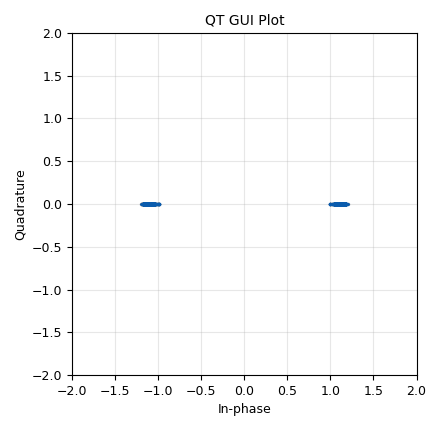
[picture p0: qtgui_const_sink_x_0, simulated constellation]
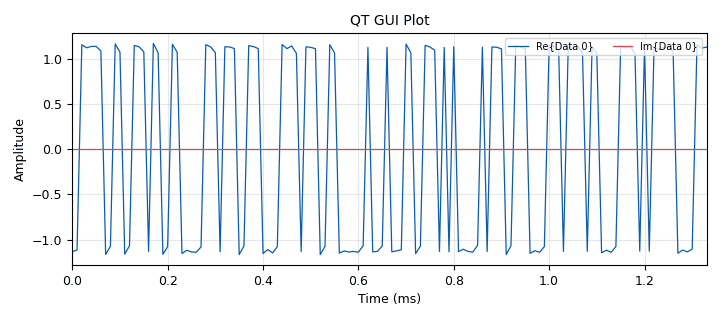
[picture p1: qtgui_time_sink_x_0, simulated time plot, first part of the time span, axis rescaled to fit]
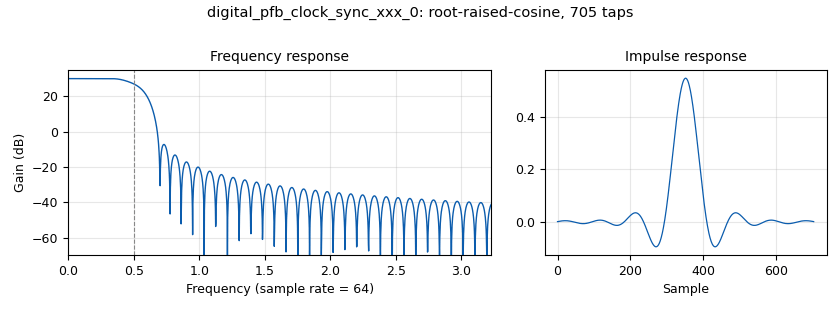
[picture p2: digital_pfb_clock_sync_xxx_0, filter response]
<?xml version='1.0' encoding='utf-8'?>
<flow_graph>
<block>
<key>options</key>
<param><key>id</key><value>top_block</value></param>
<param><key>generate_options</key><value>qt_gui</value></param>
<param><key>category</key><value>Custom</value></param>
</block>
<block>
<key>variable</key>
<param><key>id</key><value>timing_max_dev</value></param>
<param><key>value</key><value>1.5</value></param>
</block>
<block>
<key>variable</key>
<param><key>id</key><value>fll_ntaps</value></param>
<param><key>value</key><value>55</value></param>
</block>
<block>
<key>variable</key>
<param><key>id</key><value>ntaps</value></param>
<param><key>value</key><value>11 * int(samples_per_symbol*nfilts)</value></param>
</block>
<block>
<key>variable</key>
<param><key>id</key><value>nfilts</value></param>
<param><key>value</key><value>32</value></param>
</block>
<block>
<key>variable</key>
<param><key>id</key><value>timing_bw</value></param>
<param><key>value</key><value>0.0628</value></param>
</block>
<block>
<key>variable</key>
<param><key>id</key><value>freq_bw</value></param>
<param><key>value</key><value>0.0628</value></param>
</block>
<block>
<key>variable</key>
<param><key>id</key><value>excess_bw</value></param>
<param><key>value</key><value>0.35</value></param>
</block>
<block>
<key>variable</key>
<param><key>id</key><value>samples_per_symbol</value></param>
<param><key>value</key><value>2</value></param>
</block>
<block>
<key>variable</key>
<param><key>id</key><value>num_samples</value></param>
<param><key>value</key><value>1000</value></param>
</block>
<block>
<key>variable</key>
<param><key>id</key><value>samp_rate</value></param>
<param><key>value</key><value>100000</value></param>
</block>
<block>
<key>qtgui_const_sink_x</key>
<param><key>id</key><value>qtgui_const_sink_x_0</value></param>
<param><key>type</key><value>complex</value></param>
<param><key>name</key><value>QT GUI Plot</value></param>
<param><key>size</key><value>1024</value></param>
</block>
<block>
<key>digital_fll_band_edge_cc</key>
<param><key>id</key><value>digital_fll_band_edge_cc_0</value></param>
<param><key>type</key><value>cc</value></param>
<param><key>samps_per_sym</key><value>samples_per_symbol</value></param>
<param><key>rolloff</key><value>excess_bw</value></param>
<param><key>filter_size</key><value>55</value></param>
<param><key>w</key><value>freq_bw</value></param>
</block>
<block>
<key>analog_random_source_x</key>
<param><key>id</key><value>analog_random_source_x_0</value></param>
<param><key>type</key><value>byte</value></param>
<param><key>min</key><value>32</value></param>
<param><key>max</key><value>127</value></param>
<param><key>num_samps</key><value>num_samples</value></param>
<param><key>repeat</key><value>True</value></param>
</block>
<block>
<key>analog_agc2_xx</key>
<param><key>id</key><value>analog_agc2_xx_0</value></param>
<param><key>type</key><value>complex</value></param>
<param><key>attack_rate</key><value>0.6e-1</value></param>
<param><key>decay_rate</key><value>1e-3</value></param>
<param><key>reference</key><value>1.0</value></param>
<param><key>gain</key><value>1.0</value></param>
<param><key>max_gain</key><value>65536</value></param>
</block>
<block>
<key>blocks_throttle</key>
<param><key>id</key><value>blocks_throttle_0</value></param>
<param><key>type</key><value>byte</value></param>
<param><key>samples_per_second</key><value>samp_rate</value></param>
</block>
<block>
<key>digital_psk_mod</key>
<param><key>id</key><value>digital_psk_mod_0</value></param>
<param><key>constellation_points</key><value>2</value></param>
<param><key>mod_code</key><value>"none"</value></param>
<param><key>differential</key><value>False</value></param>
<param><key>samples_per_symbol</key><value>2</value></param>
<param><key>excess_bw</key><value>0.35</value></param>
</block>
<block>
<key>digital_pfb_clock_sync_xxx</key>
<param><key>id</key><value>digital_pfb_clock_sync_xxx_0</value></param>
<param><key>type</key><value>ccf</value></param>
<param><key>sps</key><value>samples_per_symbol</value></param>
<param><key>loop_bw</key><value>timing_bw</value></param>
<param><key>taps</key><value>firdes.root_raised_cosine(nfilts,nfilts*samples_per_symbol,1.0,excess_bw,ntaps)</value></param>
<param><key>filter_size</key><value>nfilts</value></param>
<param><key>init_phase</key><value>nfilts//2</value></param>
<param><key>max_dev</key><value>timing_max_dev</value></param>
<param><key>osps</key><value>1</value></param>
</block>
<block>
<key>qtgui_time_sink_x</key>
<param><key>id</key><value>qtgui_time_sink_x_0</value></param>
<param><key>type</key><value>complex</value></param>
<param><key>name</key><value>QT GUI Plot</value></param>
<param><key>size</key><value>1024</value></param>
<param><key>srate</key><value>samp_rate</value></param>
</block>
<connection><source_block_id>digital_pfb_clock_sync_xxx_0</source_block_id><sink_block_id>qtgui_const_sink_x_0</sink_block_id><source_key>0</source_key><sink_key>0</sink_key></connection>
<connection><source_block_id>digital_fll_band_edge_cc_0</source_block_id><sink_block_id>digital_pfb_clock_sync_xxx_0</sink_block_id><source_key>0</source_key><sink_key>0</sink_key></connection>
<connection><source_block_id>digital_psk_mod_0</source_block_id><sink_block_id>analog_agc2_xx_0</sink_block_id><source_key>0</source_key><sink_key>0</sink_key></connection>
<connection><source_block_id>analog_agc2_xx_0</source_block_id><sink_block_id>digital_fll_band_edge_cc_0</sink_block_id><source_key>0</source_key><sink_key>0</sink_key></connection>
<connection><source_block_id>blocks_throttle_0</source_block_id><sink_block_id>digital_psk_mod_0</sink_block_id><source_key>0</source_key><sink_key>0</sink_key></connection>
<connection><source_block_id>analog_random_source_x_0</source_block_id><sink_block_id>blocks_throttle_0</sink_block_id><source_key>0</source_key><sink_key>0</sink_key></connection>
<connection><source_block_id>digital_pfb_clock_sync_xxx_0</source_block_id><sink_block_id>qtgui_time_sink_x_0</sink_block_id><source_key>0</source_key><sink_key>0</sink_key></connection>
</flow_graph>
